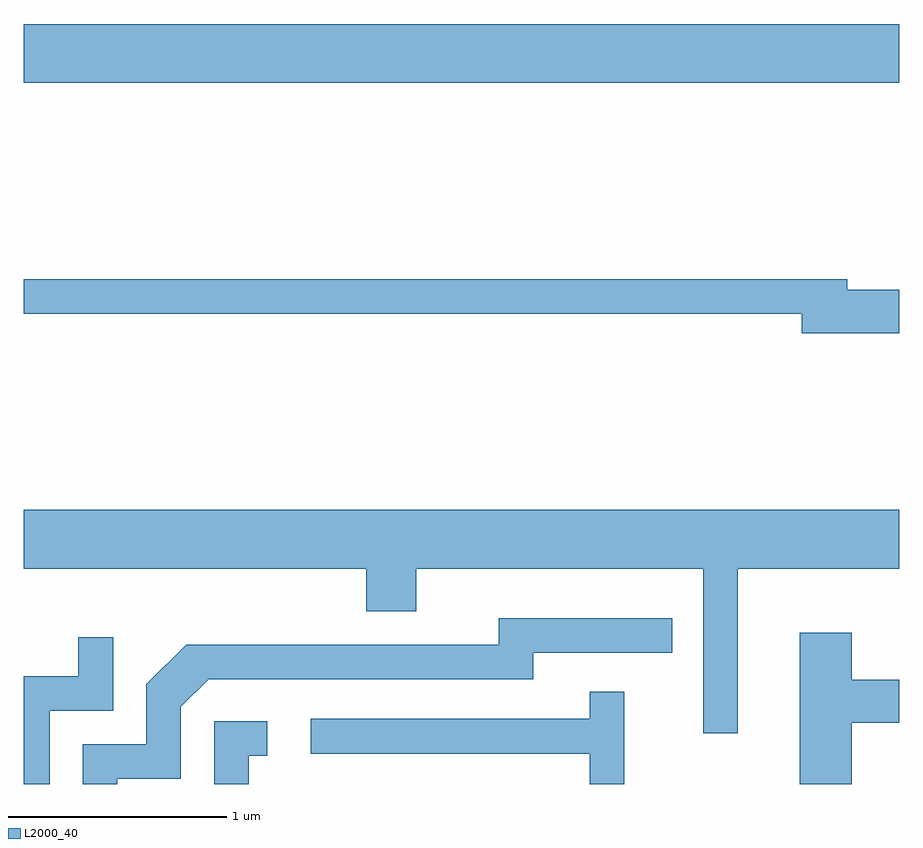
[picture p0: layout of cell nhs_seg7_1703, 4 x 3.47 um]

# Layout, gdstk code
import gdstk
lib = gdstk.Library(unit=1e-6, precision=1e-09)
def R(c, l, rs):  # rectangles x0, y0, x1, y1
    for r in rs: c.add(gdstk.rectangle(r[:2], r[2:], *l))
def P(c, l, *ps):  # polygons
    for p in ps: c.add(gdstk.Polygon(p, *l))
L2000_40 = (2000, 40)

nhs_seg7_1703 = lib.new_cell('nhs_seg7_1703')
R(nhs_seg7_1703, L2000_40, [(237.611,1685.456,241.611,1685.724)])
P(nhs_seg7_1703, L2000_40, [(241.611,1684.509),(241.374,1684.509),(241.374,1684.559),(237.611,1684.559),(237.611,1684.401),(241.166,1684.401),(241.166,1684.311),(241.611,1684.311)],
  [(240.874,1683.236),(241.611,1683.236),(241.611,1683.504),(237.611,1683.504),(237.611,1683.236),(239.176,1683.236),(239.176,1683.041),(239.404,1683.041),(239.404,1683.236),(240.716,1683.236),(240.716,1682.483),(240.874,1682.483)],
  [(238.039,1682.276),(238.329,1682.276),(238.329,1682.604),(238.457,1682.731),(239.939,1682.731),(239.939,1682.851),(240.573,1682.851),(240.573,1683.009),(239.781,1683.009),(239.781,1682.889),(238.354,1682.889),(238.171,1682.707),(238.171,1682.434),(237.881,1682.434),(237.881,1682.252),(238.039,1682.252)],
  [(241.394,1682.531),(241.611,1682.531),(241.611,1682.729),(241.394,1682.729),(241.394,1682.944),(241.156,1682.944),(241.156,1682.252),(241.394,1682.252)],
  [(237.729,1682.586),(238.019,1682.586),(238.019,1682.923),(237.861,1682.923),(237.861,1682.744),(237.611,1682.744),(237.611,1682.252),(237.729,1682.252)],
  [(240.354,1682.673),(240.196,1682.673),(240.196,1682.549),(238.923,1682.549),(238.923,1682.391),(240.196,1682.391),(240.196,1682.252),(240.354,1682.252)],
  [(238.639,1682.381),(238.723,1682.381),(238.723,1682.539),(238.481,1682.539),(238.481,1682.252),(238.639,1682.252)])

lib.write_gds('nhs_seg7_1703.gds')
